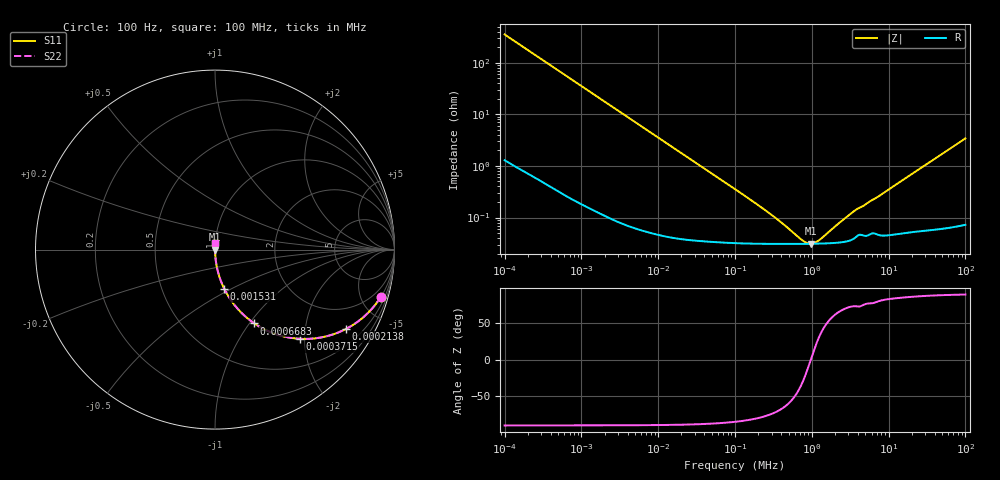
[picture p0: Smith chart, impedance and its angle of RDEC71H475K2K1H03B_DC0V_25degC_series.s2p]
!Murata Part Number: RDEC71H475K2K1H03B
!These Parameters are Measured in Series Mode Connection
!  o--ll--o
!Port1  Port2
!  o------o
!Operation Temp=25[degC], DC Bias Voltage=0[V]
!Freq. Start=100[Hz] Stop=100[MHz], 401[Steps]
!Data Generated on Dec 23, 2019
# Hz S RI R 50
!Freq.(Hz) S11(Real) S11(Imag) S21(Real) S21(Imag) S12(Real) S12(Imag) S22(Real) S22(Imag)
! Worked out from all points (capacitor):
!   401 points, 100 Hz to 100 MHz, reference 50 ohm
!   read as one part in series: C = 4.53 uF near 107.2 Hz
!   lowest |Z| = 31.1 mohm at 977.2 kHz (marker M1)
!   series resonance near 969.4 kHz, so ESL is about 5.9 nH
!   S11 on the Smith chart (normalised r, x): 100 Hz: 1.03, -7.02; 213.8 Hz: 1.01, -3.29; 371.5 Hz: 1.01, -1.90; 668.3 Hz: 1.00, -1.06; 1.531 kHz: 1.00, -0.46; 100 MHz: 1.00, +0.07
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100  0.9241 -0.263  0.0759 0.263  0.0759 0.263  0.9241 -0.263
146.2177  0.8514 -0.3537  0.1486 0.3537  0.1486 0.3537  0.8514 -0.3537
213.7962  0.7293 -0.4423  0.2707 0.4423  0.2707 0.4423  0.7293 -0.4423
281.8383  0.6089 -0.4859  0.3911 0.4859  0.3911 0.4859  0.6089 -0.4859
371.5352  0.4735 -0.4971  0.5265 0.4971  0.5265 0.4971  0.4735 -0.4971
489.7788  0.3419 -0.4721  0.6581 0.4721  0.6581 0.4721  0.3419 -0.4721
668.3439  0.219 -0.4112  0.781 0.4112  0.781 0.4112  0.219 -0.4112
1011.579  0.1099 -0.3102  0.8901 0.3102  0.8901 0.3102  0.1099 -0.3102
1531.087  0.0518 -0.2187  0.9482 0.2187  0.9482 0.2187  0.0518 -0.2187
3507.519  0.0108 -0.0999  0.9892 0.0999  0.9892 0.0999  0.0108 -0.0999
10232.93  0.00166 -0.0347  0.9983 0.0347  0.9983 0.0347  0.00166 -0.0347
100000  0.000332 -0.00354  0.9997 0.00354  0.9997 0.00354  0.000332 -0.00354
312607.9  0.00031 -0.00103  0.9997 0.00103  0.9997 0.00103  0.00031 -0.00103
741310.2  0.000309 -0.000201  0.9997 0.000201  0.9997 0.000201  0.000309 -0.000201
851138  0.00031 -9.64e-05  0.9997 9.64e-05  0.9997 9.64e-05  0.00031 -9.64e-05
977237.2  0.00031 6.01e-06  0.9997 -6.01e-06  0.9997 -6.01e-06  0.00031 6.01e-06
1011579  0.000311 3.16e-05  0.9997 -3.16e-05  0.9997 -3.16e-05  0.000311 3.16e-05
1288250  0.000313 0.000213  0.9997 -0.000213  0.9997 -0.000213  0.000313 0.000213
3630781  0.000404 0.0013  0.9996 -0.0013  0.9996 -0.0013  0.000404 0.0013
6998420  0.000479 0.00239  0.9995 -0.00239  0.9995 -0.00239  0.000479 0.00239
1.023293e7  0.000467 0.00354  0.9995 -0.00354  0.9995 -0.00354  0.000467 0.00354
1e8  0.00188 0.034  0.9981 -0.034  0.9981 -0.034  0.00188 0.034
